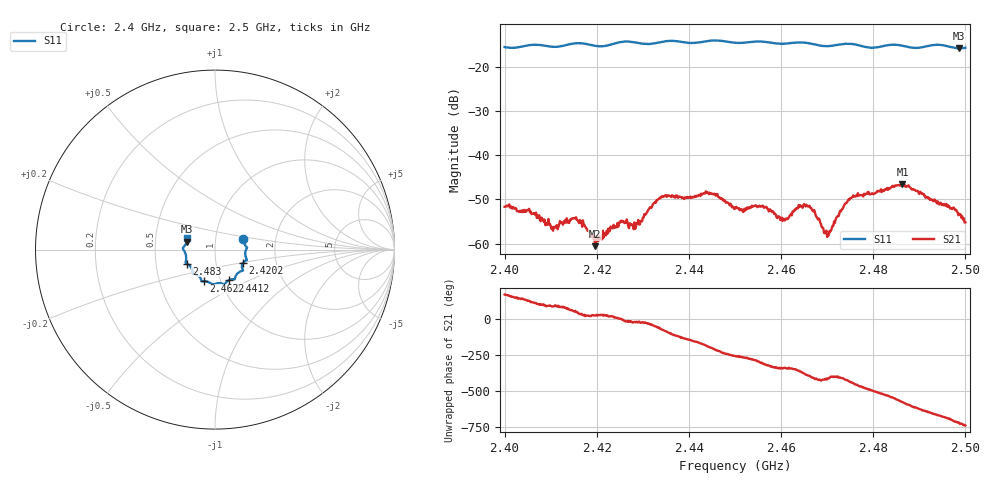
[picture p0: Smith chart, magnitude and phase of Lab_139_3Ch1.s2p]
# Hz S RI R 50
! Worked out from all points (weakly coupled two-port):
!   601 points, 2.4 GHz to 2.5 GHz, reference 50 ohm
!   highest |S21| = -46.57 dB at 2.4863 GHz (marker M1); lowest = -60.6 dB at 2.4197 GHz (marker M2)
!   lowest |S11| = -15.8 dB at 2.4987 GHz (marker M3), VSWR 1.39, Z = 36.3 + j3.3 ohm
!   |S11| at or under -10 dB: start of sweep to end of sweep
!   S12 and S22 are empty: the file has one direction only
!   S11 on the Smith chart (normalised r, x): 2.4 GHz: 1.36, +0.17; 2.4202 GHz: 1.35, -0.20; 2.4412 GHz: 1.09, -0.39; 2.4622 GHz: 0.83, -0.31; 2.483 GHz: 0.72, -0.12; 2.5 GHz: 0.73, +0.09
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2.4e9  0.1575 0.0602  -0.00259 0.000369  0 0  0 0
2.405333e9  0.1769 0.0146  -0.00151 0.00197  0 0  0 0
2.4105e9  0.1693 -0.0131  1.58e-05 0.0014  0 0  0 0
2.416667e9  0.1769 -0.0587  0.00143 0.0011  0 0  0 0
2.419667e9  0.1601 -0.069  0.000852 0.000385  0 0  0 0
2.420167e9  0.1567 -0.0723  0.00107 0.000502  0 0  0 0
2.425333e9  0.1558 -0.1138  0.00182 -4.48e-06  0 0  0 0
2.428833e9  0.1449 -0.1203  0.00156 -0.000665  0 0  0 0
2.433333e9  0.1132 -0.1519  0.00174 -0.00266  0 0  0 0
2.441167e9  0.0759 -0.1719  -0.00303 -0.00143  0 0  0 0
2.445667e9  0.0522 -0.1936  -0.0031 0.0019  0 0  0 0
2.45e9  0.0267 -0.187  -0.000591 0.0025  0 0  0 0
2.460333e9  -0.046 -0.1781  0.00174 0.000474  0 0  0 0
2.462167e9  -0.0625 -0.177  0.00209 0.000577  0 0  0 0
2.466667e9  -0.0774 -0.1665  0.00171 -0.00175  0 0  0 0
2.469833e9  -0.0954 -0.144  0.000824 -0.00113  0 0  0 0
2.475167e9  -0.1257 -0.1336  0.000648 -0.00322  0 0  0 0
2.483e9  -0.1585 -0.0781  -0.00423 -0.000605  0 0  0 0
2.483333e9  -0.1602 -0.0772  -0.00422 -0.000281  0 0  0 0
2.486333e9  -0.1624 -0.0645  -0.00365 0.00295  0 0  0 0
2.498667e9  -0.1569 0.0442  0.00217 -0.000214  0 0  0 0
2.5e9  -0.1538 0.0622  0.00161 -0.000654  0 0  0 0
